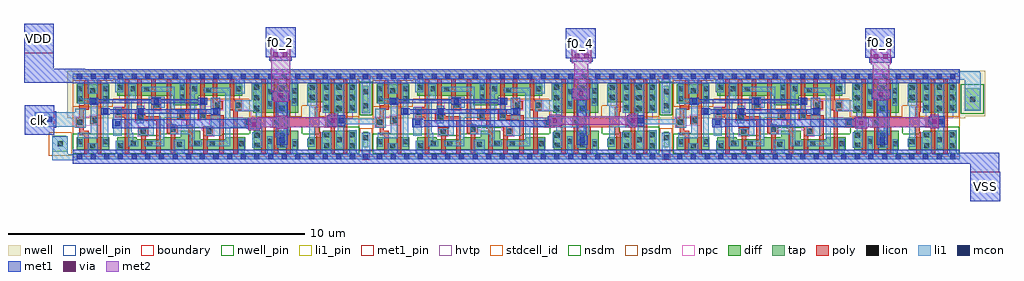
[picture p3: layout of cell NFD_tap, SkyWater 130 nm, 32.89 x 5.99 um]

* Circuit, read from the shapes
.subckt NFD_tap VDD VSS clk f0_2 f0_4 f0_8
XM1 VSS clk n1 VSS sky130_fd_pr__nfet_01v8 w=0.42 l=0.15
XM2 n2 n1 VSS VSS sky130_fd_pr__nfet_01v8 w=0.42 l=0.15
XM3 n3 sky130_fd_sc_hd__dfxbp_2_1/CLK VSS VSS sky130_fd_pr__nfet_01v8 w=0.42 l=0.15
XM4 n4 n1 n3 VSS sky130_fd_pr__nfet_01v8 w=0.36 l=0.15
XM5 n5 n2 n4 VSS sky130_fd_pr__nfet_01v8 w=0.36 l=0.15
XM6 VSS n6 n5 VSS sky130_fd_pr__nfet_01v8 w=0.42 l=0.15
XM7 n6 n4 VSS VSS sky130_fd_pr__nfet_01v8 w=0.64 l=0.15
XM8 n7 n2 n6 VSS sky130_fd_pr__nfet_01v8 w=0.36 l=0.15
XM9 n8 n1 n7 VSS sky130_fd_pr__nfet_01v8 w=0.36 l=0.15
XM10 VSS n9 n8 VSS sky130_fd_pr__nfet_01v8 w=0.42 l=0.15
XM11 VSS n7 n9 VSS sky130_fd_pr__nfet_01v8 w=0.65 l=0.15
XM12 f0_2 n9 VSS VSS sky130_fd_pr__nfet_01v8 w=0.65 l=0.15 m=2
XM13 VSS n9 n10 VSS sky130_fd_pr__nfet_01v8 w=0.42 l=0.15
XM14 sky130_fd_sc_hd__dfxbp_2_1/CLK n10 VSS VSS sky130_fd_pr__nfet_01v8 w=0.65 l=0.15 m=2
XM15 VSS sky130_fd_sc_hd__dfxbp_2_1/CLK n11 VSS sky130_fd_pr__nfet_01v8 w=0.42 l=0.15
XM16 n12 n11 VSS VSS sky130_fd_pr__nfet_01v8 w=0.42 l=0.15
XM17 n13 sky130_fd_sc_hd__dfxbp_2_0/CLK VSS VSS sky130_fd_pr__nfet_01v8 w=0.42 l=0.15
XM18 n14 n11 n13 VSS sky130_fd_pr__nfet_01v8 w=0.36 l=0.15
XM19 n15 n12 n14 VSS sky130_fd_pr__nfet_01v8 w=0.36 l=0.15
XM20 VSS n16 n15 VSS sky130_fd_pr__nfet_01v8 w=0.42 l=0.15
XM21 n16 n14 VSS VSS sky130_fd_pr__nfet_01v8 w=0.64 l=0.15
XM22 n17 n12 n16 VSS sky130_fd_pr__nfet_01v8 w=0.36 l=0.15
XM23 n18 n11 n17 VSS sky130_fd_pr__nfet_01v8 w=0.36 l=0.15
XM24 VSS n19 n18 VSS sky130_fd_pr__nfet_01v8 w=0.42 l=0.15
XM25 VSS n17 n19 VSS sky130_fd_pr__nfet_01v8 w=0.65 l=0.15
XM26 f0_4 n19 VSS VSS sky130_fd_pr__nfet_01v8 w=0.65 l=0.15 m=2
XM27 VSS n19 n20 VSS sky130_fd_pr__nfet_01v8 w=0.42 l=0.15
XM28 sky130_fd_sc_hd__dfxbp_2_0/CLK n20 VSS VSS sky130_fd_pr__nfet_01v8 w=0.65 l=0.15 m=2
XM29 VSS sky130_fd_sc_hd__dfxbp_2_0/CLK n21 VSS sky130_fd_pr__nfet_01v8 w=0.42 l=0.15
XM30 n22 n21 VSS VSS sky130_fd_pr__nfet_01v8 w=0.42 l=0.15
XM31 n23 sky130_fd_sc_hd__dfxbp_2_0/D VSS VSS sky130_fd_pr__nfet_01v8 w=0.42 l=0.15
XM32 n24 n21 n23 VSS sky130_fd_pr__nfet_01v8 w=0.36 l=0.15
XM33 n25 n22 n24 VSS sky130_fd_pr__nfet_01v8 w=0.36 l=0.15
XM34 VSS n26 n25 VSS sky130_fd_pr__nfet_01v8 w=0.42 l=0.15
XM35 n26 n24 VSS VSS sky130_fd_pr__nfet_01v8 w=0.64 l=0.15
XM36 n27 n22 n26 VSS sky130_fd_pr__nfet_01v8 w=0.36 l=0.15
XM37 n28 n21 n27 VSS sky130_fd_pr__nfet_01v8 w=0.36 l=0.15
XM38 VSS n29 n28 VSS sky130_fd_pr__nfet_01v8 w=0.42 l=0.15
XM39 VSS n27 n29 VSS sky130_fd_pr__nfet_01v8 w=0.65 l=0.15
XM40 f0_8 n29 VSS VSS sky130_fd_pr__nfet_01v8 w=0.65 l=0.15 m=2
XM41 VSS n29 n30 VSS sky130_fd_pr__nfet_01v8 w=0.42 l=0.15
XM42 sky130_fd_sc_hd__dfxbp_2_0/D n30 VSS VSS sky130_fd_pr__nfet_01v8 w=0.65 l=0.15 m=2
XM43 VDD clk n1 VDD sky130_fd_pr__pfet_01v8_hvt w=0.64 l=0.15
XM44 n2 n1 VDD VDD sky130_fd_pr__pfet_01v8_hvt w=0.64 l=0.15
XM45 n3 sky130_fd_sc_hd__dfxbp_2_1/CLK VDD VDD sky130_fd_pr__pfet_01v8_hvt w=0.42 l=0.15
XM46 n4 n2 n3 VDD sky130_fd_pr__pfet_01v8_hvt w=0.42 l=0.15
XM47 n31 n1 n4 VDD sky130_fd_pr__pfet_01v8_hvt w=0.42 l=0.15
XM48 VDD n6 n31 VDD sky130_fd_pr__pfet_01v8_hvt w=0.42 l=0.15
XM49 n6 n4 VDD VDD sky130_fd_pr__pfet_01v8_hvt w=0.75 l=0.15
XM50 n7 n1 n6 VDD sky130_fd_pr__pfet_01v8_hvt w=0.42 l=0.15
XM51 n32 n2 n7 VDD sky130_fd_pr__pfet_01v8_hvt w=0.42 l=0.15
XM52 VDD n9 n32 VDD sky130_fd_pr__pfet_01v8_hvt w=0.42 l=0.15
XM53 VDD n7 n9 VDD sky130_fd_pr__pfet_01v8_hvt w=1 l=0.15
XM54 f0_2 n9 VDD VDD sky130_fd_pr__pfet_01v8_hvt w=1 l=0.15 m=2
XM55 VDD n9 n10 VDD sky130_fd_pr__pfet_01v8_hvt w=0.64 l=0.15
XM56 sky130_fd_sc_hd__dfxbp_2_1/CLK n10 VDD VDD sky130_fd_pr__pfet_01v8_hvt w=1 l=0.15 m=2
XM57 VDD sky130_fd_sc_hd__dfxbp_2_1/CLK n11 VDD sky130_fd_pr__pfet_01v8_hvt w=0.64 l=0.15
XM58 n12 n11 VDD VDD sky130_fd_pr__pfet_01v8_hvt w=0.64 l=0.15
XM59 n13 sky130_fd_sc_hd__dfxbp_2_0/CLK VDD VDD sky130_fd_pr__pfet_01v8_hvt w=0.42 l=0.15
XM60 n14 n12 n13 VDD sky130_fd_pr__pfet_01v8_hvt w=0.42 l=0.15
XM61 n33 n11 n14 VDD sky130_fd_pr__pfet_01v8_hvt w=0.42 l=0.15
XM62 VDD n16 n33 VDD sky130_fd_pr__pfet_01v8_hvt w=0.42 l=0.15
XM63 n16 n14 VDD VDD sky130_fd_pr__pfet_01v8_hvt w=0.75 l=0.15
XM64 n17 n11 n16 VDD sky130_fd_pr__pfet_01v8_hvt w=0.42 l=0.15
XM65 n34 n12 n17 VDD sky130_fd_pr__pfet_01v8_hvt w=0.42 l=0.15
XM66 VDD n19 n34 VDD sky130_fd_pr__pfet_01v8_hvt w=0.42 l=0.15
XM67 VDD n17 n19 VDD sky130_fd_pr__pfet_01v8_hvt w=1 l=0.15
XM68 f0_4 n19 VDD VDD sky130_fd_pr__pfet_01v8_hvt w=1 l=0.15 m=2
XM69 VDD n19 n20 VDD sky130_fd_pr__pfet_01v8_hvt w=0.64 l=0.15
XM70 sky130_fd_sc_hd__dfxbp_2_0/CLK n20 VDD VDD sky130_fd_pr__pfet_01v8_hvt w=1 l=0.15 m=2
XM71 VDD sky130_fd_sc_hd__dfxbp_2_0/CLK n21 VDD sky130_fd_pr__pfet_01v8_hvt w=0.64 l=0.15
XM72 n22 n21 VDD VDD sky130_fd_pr__pfet_01v8_hvt w=0.64 l=0.15
XM73 n23 sky130_fd_sc_hd__dfxbp_2_0/D VDD VDD sky130_fd_pr__pfet_01v8_hvt w=0.42 l=0.15
XM74 n24 n22 n23 VDD sky130_fd_pr__pfet_01v8_hvt w=0.42 l=0.15
XM75 n35 n21 n24 VDD sky130_fd_pr__pfet_01v8_hvt w=0.42 l=0.15
XM76 VDD n26 n35 VDD sky130_fd_pr__pfet_01v8_hvt w=0.42 l=0.15
XM77 n26 n24 VDD VDD sky130_fd_pr__pfet_01v8_hvt w=0.75 l=0.15
XM78 n27 n21 n26 VDD sky130_fd_pr__pfet_01v8_hvt w=0.42 l=0.15
XM79 n36 n22 n27 VDD sky130_fd_pr__pfet_01v8_hvt w=0.42 l=0.15
XM80 VDD n29 n36 VDD sky130_fd_pr__pfet_01v8_hvt w=0.42 l=0.15
XM81 VDD n27 n29 VDD sky130_fd_pr__pfet_01v8_hvt w=1 l=0.15
XM82 f0_8 n29 VDD VDD sky130_fd_pr__pfet_01v8_hvt w=1 l=0.15 m=2
XM83 VDD n29 n30 VDD sky130_fd_pr__pfet_01v8_hvt w=0.64 l=0.15
XM84 sky130_fd_sc_hd__dfxbp_2_0/D n30 VDD VDD sky130_fd_pr__pfet_01v8_hvt w=1 l=0.15 m=2
.ends

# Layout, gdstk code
import gdstk
lib = gdstk.Library(unit=1e-6, precision=1e-09)
def R(c, l, rs):  # rectangles x0, y0, x1, y1
    for r in rs: c.add(gdstk.rectangle(r[:2], r[2:], *l))
def A(c, l, x, y, w, h, nx, ny, dx, dy):  # array of equal rectangles
    R(c, l, [(x+i*dx, y+j*dy, x+i*dx+w, y+j*dy+h) for i in range(nx) for j in range(ny)])
nwell_pin = (64, 16)
nwell = (64, 20)
diff = (65, 20)
tap = (65, 44)
poly = (66, 20)
licon = (66, 44)
li1_pin = (67, 16)
li1 = (67, 20)
mcon = (67, 44)
met1_pin = (68, 16)
met1 = (68, 20)
via = (68, 44)
met2 = (69, 20)
hvtp = (78, 44)
stdcell_id = (81, 4)
nsdm = (93, 44)
psdm = (94, 20)
npc = (95, 20)
pwell_pin = (122, 16)
boundary = (235, 4)

sky130_fd_sc_hd__dfxbp_2 = lib.new_cell('sky130_fd_sc_hd__dfxbp_2')
R(sky130_fd_sc_hd__dfxbp_2, nwell_pin, [(0.145,2.635,0.315,2.805)])
R(sky130_fd_sc_hd__dfxbp_2, nwell, [(-0.19,1.305,9.85,2.91)])
R(sky130_fd_sc_hd__dfxbp_2, diff, [(0.135,0.235,1.225,0.655), (1.495,0.235,5.82,0.595), (6.1,0.235,7.61,0.885), (7.945,0.235,9.525,0.655), (1.495,0.595,2.155,0.655), (3.055,0.595,4.3,0.655), (5.16,0.595,5.82,0.655), (3.65,0.655,4.3,0.875), (8.43,0.655,9.525,0.885), (6.08,1.485,7.6,2.485), (8.43,1.485,9.525,1.845), (3.395,1.735,4.23,2.065), (0.135,1.815,1.225,2.455), (7.945,1.845,9.525,2.485), (1.495,2.065,5.71,2.485)])
A(sky130_fd_sc_hd__dfxbp_2, poly, 6.36, 0.105, 0.15, 0.89, 3, 1, 0.42, 0)
A(sky130_fd_sc_hd__dfxbp_2, poly, 6.35, 1.325, 0.15, 1.29, 3, 1, 0.42, 0)
R(sky130_fd_sc_hd__dfxbp_2, poly, [(0.395,0.105,0.545,0.73), (0.815,0.105,0.965,1.1), (1.755,0.105,1.905,1.335), (2.315,0.105,2.465,0.735), (2.81,0.105,2.96,1.215), (3.305,0.105,3.455,0.795), (3.9,0.105,4.05,0.95), (4.405,0.105,4.555,0.705), (4.935,0.105,5.085,1.245), (5.41,0.105,5.56,1.575), (8.205,0.105,8.355,0.73), (8.69,0.105,8.84,0.995), (9.11,0.105,9.26,0.995), (4.405,0.705,4.725,1.035), (0.23,0.73,0.545,0.88), (8.16,0.73,8.355,0.85), (2.215,0.735,2.545,1.005), (3.17,0.795,3.54,1.065), (8.16,0.85,8.31,0.995), (0.23,0.88,0.38,0.995), (3.83,0.95,4.05,1.1), (0.11,0.995,0.38,1.325), (5.8,0.995,6.51,1.325), (6.72,0.995,8.31,1.325), (8.52,0.995,9.26,1.325), (3.17,1.065,3.32,2.615), (0.59,1.1,0.965,1.37), (3.83,1.1,3.98,1.275), (2.115,1.215,2.96,1.365), (4.24,1.245,5.085,1.395), (3.53,1.275,3.98,1.545), (0.23,1.325,0.38,1.59), (8.16,1.325,8.31,1.515), (8.69,1.325,8.84,2.615), (9.11,1.325,9.26,2.615), (1.43,1.335,1.905,1.665), (2.115,1.365,2.445,1.485), (0.815,1.37,0.965,2.585), (4.24,1.395,4.51,1.575), (2.18,1.485,2.33,2.615), (8.16,1.515,8.355,1.665), (3.83,1.545,3.98,2.615), (2.655,1.575,2.96,1.905), (4.305,1.575,4.455,2.615), (5.295,1.575,5.7,1.905), (0.23,1.59,0.545,1.74), (4.72,1.605,5.05,1.875), (1.755,1.665,1.905,2.615), (8.205,1.665,8.355,2.615), (0.395,1.74,0.545,2.585), (4.725,1.875,4.875,2.615), (2.655,1.905,2.805,2.615), (5.295,1.905,5.445,2.615)])
A(sky130_fd_sc_hd__dfxbp_2, licon, 6.12, 1.545, 0.17, 0.17, 1, 3, 0, 0.355)
A(sky130_fd_sc_hd__dfxbp_2, licon, 6.97, 1.545, 0.17, 0.17, 1, 3, 0, 0.34)
A(sky130_fd_sc_hd__dfxbp_2, licon, 8.89, 1.545, 0.17, 0.17, 1, 3, 0, 0.355)
A(sky130_fd_sc_hd__dfxbp_2, licon, 8.47, 1.575, 0.17, 0.17, 1, 3, 0, 0.34)
A(sky130_fd_sc_hd__dfxbp_2, licon, 9.315, 1.575, 0.17, 0.17, 1, 3, 0, 0.34)
R(sky130_fd_sc_hd__dfxbp_2, licon, [(0.595,0.295,0.765,0.465), (1.535,0.295,1.705,0.465), (8.47,0.295,8.64,0.465), (9.315,0.295,9.485,0.465), (6.14,0.3,6.31,0.47), (6.98,0.31,7.15,0.48), (3.51,0.335,3.68,0.505), (7.4,0.35,7.57,0.52), (1.96,0.365,2.13,0.535), (2.515,0.365,2.685,0.535), (4.105,0.365,4.275,0.535), (4.62,0.365,4.79,0.535), (5.61,0.365,5.78,0.535), (0.175,0.425,0.345,0.595), (1.015,0.425,1.185,0.595), (7.985,0.425,8.155,0.595), (6.56,0.445,6.73,0.615), (8.89,0.485,9.06,0.655), (6.14,0.64,6.31,0.81), (6.98,0.65,7.15,0.82), (8.47,0.655,8.64,0.825), (9.315,0.655,9.485,0.825), (2.295,0.785,2.465,0.955), (4.505,0.785,4.675,0.955), (3.29,0.845,3.46,1.015), (0.16,1.075,0.33,1.245), (5.85,1.075,6.02,1.245), (6.77,1.075,6.94,1.245), (8.59,1.075,8.76,1.245), (0.67,1.15,0.84,1.32), (2.195,1.265,2.365,1.435), (3.61,1.325,3.78,1.495), (4.29,1.325,4.46,1.495), (1.48,1.415,1.65,1.585), (2.74,1.655,2.91,1.825), (4.8,1.655,4.97,1.825), (5.48,1.655,5.65,1.825), (6.55,1.705,6.72,1.875), (7.39,1.8,7.56,1.97), (0.175,1.875,0.345,2.045), (1.015,1.875,1.185,2.045), (3.61,1.915,3.78,2.085), (7.985,1.915,8.155,2.085), (6.55,2.105,6.72,2.275), (0.595,2.135,0.765,2.305), (7.39,2.14,7.56,2.31), (4.505,2.165,4.675,2.335), (2.415,2.19,2.585,2.36), (0.175,2.215,0.345,2.385), (1.015,2.215,1.185,2.385), (1.955,2.215,2.125,2.385), (4.03,2.215,4.2,2.385), (5.5,2.215,5.67,2.385), (1.535,2.255,1.705,2.425), (3.61,2.255,3.78,2.425), (7.985,2.255,8.155,2.425)])
R(sky130_fd_sc_hd__dfxbp_2, li1_pin, [(6.95,0.425,7.12,0.595), (0.145,1.105,0.315,1.275), (1.445,1.105,1.615,1.275), (8.845,1.52,9.015,1.69)])
R(sky130_fd_sc_hd__dfxbp_2, li1, [(0,-0.085,9.66,0.085), (0.515,0.085,0.845,0.465), (1.455,0.085,1.705,0.545), (3.4,0.085,3.77,0.585), (5.585,0.085,5.795,0.615), (6.56,0.085,6.73,0.695), (7.4,0.085,7.57,0.6), (8.39,0.085,8.72,0.825), (9.315,0.085,9.565,0.905), (8.89,0.265,9.145,0.885), (6.06,0.3,6.39,0.825), (6.9,0.305,7.23,0.74), (0.175,0.345,0.345,0.635), (1.015,0.345,1.2,2.465), (7.905,0.345,8.165,0.615), (1.875,0.365,2.21,0.535), (2.405,0.365,3.08,0.535), (3.95,0.365,4.355,0.535), (4.525,0.365,5.31,0.535), (1.875,0.535,2.045,0.675), (2.91,0.535,3.08,1.315), (3.95,0.535,4.12,0.765), (5.14,0.535,5.31,0.995), (7.965,0.615,8.165,0.995), (0.175,0.635,0.84,0.805), (1.82,0.675,2.045,0.805), (4.505,0.705,4.97,1.035), (1.37,0.715,1.65,1.665), (2.215,0.735,2.74,0.955), (6.9,0.74,7.3,0.825), (3.29,0.765,4.12,1.065), (0.61,0.805,0.84,1.795), (1.82,0.805,1.99,1.91), (6.19,0.825,6.39,0.995), (7.055,0.825,7.3,0.865), (7.11,0.865,7.3,1.445), (8.93,0.885,9.145,1.495), (2.57,0.955,2.74,1.655), (0.09,0.975,0.44,1.625), (5.14,0.995,6.02,1.325), (6.19,0.995,6.94,1.325), (7.965,0.995,8.76,1.325), (4.65,1.035,4.97,1.995), (3.29,1.065,3.49,1.095), (3.95,1.065,4.12,2.135), (2.16,1.125,2.4,1.72), (3.61,1.245,3.78,1.315), (4.29,1.245,4.48,1.965), (2.91,1.315,3.78,1.485), (5.14,1.325,5.31,2.165), (6.19,1.325,6.38,1.53), (7.965,1.325,8.235,1.715), (7.065,1.445,7.3,1.495), (3.27,1.485,3.78,1.575), (6.89,1.495,7.3,1.575), (8.425,1.495,8.64,2.635), (8.81,1.495,9.145,2.465), (9.315,1.495,9.565,2.635), (5.48,1.53,6.38,1.905), (3.27,1.575,3.44,2.19), (6.89,1.575,7.22,2.42), (6.55,1.625,6.72,2.635), (2.57,1.655,3.1,2.02), (7.905,1.715,8.235,2.445), (7.39,1.72,7.565,2.635), (0.175,1.795,0.84,1.965), (3.61,1.835,3.78,2.635), (6.04,1.905,6.38,2.465), (1.82,1.91,2.125,2.04), (0.175,1.965,0.345,2.465), (1.875,2.04,2.125,2.465), (0.515,2.135,0.845,2.635), (3.95,2.135,4.2,2.465), (5.49,2.135,5.805,2.635), (4.425,2.165,5.31,2.335), (1.44,2.175,1.705,2.635), (2.335,2.19,3.44,2.36), (0,2.635,9.66,2.805)])
A(sky130_fd_sc_hd__dfxbp_2, mcon, 0.145, -0.085, 0.17, 0.17, 21, 2, 0.46, 2.72)
R(sky130_fd_sc_hd__dfxbp_2, mcon, [(1.025,1.445,1.195,1.615), (2.215,1.445,2.385,1.615), (4.735,1.445,4.905,1.615), (0.63,1.785,0.8,1.955), (2.73,1.785,2.9,1.955), (4.3,1.785,4.47,1.955)])
R(sky130_fd_sc_hd__dfxbp_2, met1_pin, [(0.145,-0.085,0.315,0.085), (0.145,2.635,0.315,2.805)])
R(sky130_fd_sc_hd__dfxbp_2, met1, [(0,-0.24,9.66,0.24), (0.965,1.415,1.255,1.46), (2.155,1.415,2.445,1.46), (4.675,1.415,4.965,1.46), (0.965,1.46,4.965,1.6), (0.965,1.6,1.255,1.645), (2.155,1.6,2.445,1.645), (4.675,1.6,4.965,1.645), (0.57,1.755,0.86,1.8), (2.67,1.755,2.96,1.8), (4.24,1.755,4.53,1.8), (0.57,1.8,4.53,1.94), (0.57,1.94,0.86,1.985), (2.67,1.94,2.96,1.985), (4.24,1.94,4.53,1.985), (0,2.48,9.66,2.96)])
R(sky130_fd_sc_hd__dfxbp_2, hvtp, [(6.17,1.305,7.52,2.665), (8.51,1.305,9.44,1.665), (3.65,1.555,4.16,1.885), (0.215,1.635,1.145,2.635), (8.025,1.665,9.44,2.665), (1.575,1.885,5.625,2.665)])
R(sky130_fd_sc_hd__dfxbp_2, stdcell_id, [(0,0,9.66,2.72)])
R(sky130_fd_sc_hd__dfxbp_2, nsdm, [(0.01,0.11,9.65,0.72), (0.01,0.72,2.28,0.78), (2.93,0.72,4.425,0.78), (5.035,0.72,9.65,0.78), (3.525,0.78,4.425,1), (5.975,0.78,7.735,1.01), (8.305,0.78,9.65,1.01)])
R(sky130_fd_sc_hd__dfxbp_2, psdm, [(5.955,1.36,7.725,1.72), (8.305,1.36,9.65,1.72), (3.27,1.61,4.355,1.94), (0.01,1.69,1.35,1.94), (5.955,1.72,9.65,1.94), (0.01,1.94,9.65,2.58), (1.37,2.58,9.65,2.61)])
R(sky130_fd_sc_hd__dfxbp_2, npc, [(2.195,0.685,2.565,1.165), (4.405,0.685,4.775,0.885), (3.19,0.745,3.56,0.895), (4.345,0.885,4.775,1.055), (3.19,0.895,3.67,1.115), (0.06,0.975,0.43,1.05), (5.75,0.975,6.12,1.315), (6.67,0.975,7.04,1.345), (8.49,0.975,8.86,1.345), (0.06,1.05,0.94,1.345), (4.345,1.055,4.62,1.225), (3.4,1.115,3.67,1.225), (2.095,1.165,2.565,1.265), (3.4,1.225,3.88,1.445), (4.19,1.225,4.62,1.44), (2.095,1.265,2.69,1.535), (1.38,1.315,1.75,1.685), (5.48,1.315,6.12,1.345), (0.57,1.345,0.94,1.42), (5.48,1.345,6.02,1.555), (4.19,1.44,4.925,1.555), (3.51,1.445,3.88,1.595), (2.415,1.535,2.69,1.555), (2.415,1.555,3.01,1.825), (4.19,1.555,5.07,1.595), (5.38,1.555,6.02,1.585), (5.38,1.585,5.75,1.925), (4.335,1.595,5.07,1.71), (4.7,1.71,5.07,1.925), (2.64,1.825,3.01,1.925)])
R(sky130_fd_sc_hd__dfxbp_2, pwell_pin, [(0.145,-0.085,0.315,0.085)])
R(sky130_fd_sc_hd__dfxbp_2, boundary, [(0,0,9.66,2.72)])
sky130_fd_sc_hd__dfxbp_2.add(gdstk.Label('VNB', (0.23,0), layer=64, texttype=59))
sky130_fd_sc_hd__dfxbp_2.add(gdstk.Label('VPB', (0.23,2.72), layer=64, texttype=5))
sky130_fd_sc_hd__dfxbp_2.add(gdstk.Label('VGND', (0.23,0), layer=68, texttype=5))
sky130_fd_sc_hd__dfxbp_2.add(gdstk.Label('VPWR', (0.23,2.72), layer=68, texttype=5))
sky130_fd_sc_hd__dfxbp_2.add(gdstk.Label('VNB', (0.23,0), layer=64, texttype=59))
sky130_fd_sc_hd__dfxbp_2.add(gdstk.Label('VPB', (0.23,2.72), layer=64, texttype=5))
sky130_fd_sc_hd__dfxbp_2.add(gdstk.Label('Q_N', (8.93,1.605), layer=67, texttype=5))
sky130_fd_sc_hd__dfxbp_2.add(gdstk.Label('Q', (7.035,0.51), layer=67, texttype=5))
sky130_fd_sc_hd__dfxbp_2.add(gdstk.Label('D', (1.53,1.19), layer=67, texttype=5))
sky130_fd_sc_hd__dfxbp_2.add(gdstk.Label('CLK', (0.23,1.19), layer=67, texttype=5))

sky130_fd_sc_hd__tapvpwr = lib.new_cell('sky130_fd_sc_hd__tapvpwrvgnd_1')
R(sky130_fd_sc_hd__tapvpwr, nwell, [(-0.19,1.305,0.65,2.91)])
R(sky130_fd_sc_hd__tapvpwr, tap, [(0.145,0.32,0.315,0.845), (0.145,1.525,0.315,2.4)])
R(sky130_fd_sc_hd__tapvpwr, licon, [(0.145,0.555,0.315,0.725), (0.145,1.645,0.315,1.815), (0.145,2.11,0.315,2.28)])
R(sky130_fd_sc_hd__tapvpwr, li1, [(0,-0.085,0.46,0.085), (0.085,0.085,0.375,0.81), (0.085,1.47,0.375,2.635), (0,2.635,0.46,2.805)])
R(sky130_fd_sc_hd__tapvpwr, mcon, [(0.145,-0.085,0.315,0.085), (0.145,2.635,0.315,2.805)])
R(sky130_fd_sc_hd__tapvpwr, met1_pin, [(0.105,-0.09,0.36,0.1), (0.11,2.62,0.375,2.765)])
R(sky130_fd_sc_hd__tapvpwr, met1, [(0,-0.24,0.46,0.24), (0,2.48,0.46,2.96)])
R(sky130_fd_sc_hd__tapvpwr, nsdm, [(0.02,1.4,0.44,2.525)])
R(sky130_fd_sc_hd__tapvpwr, psdm, [(0.02,0.195,0.44,0.97)])
R(sky130_fd_sc_hd__tapvpwr, boundary, [(0,0,0.46,2.72)])
sky130_fd_sc_hd__tapvpwr.add(gdstk.Label('VGND', (0.232,0.005), layer=68, texttype=5))
sky130_fd_sc_hd__tapvpwr.add(gdstk.Label('VPWR', (0.242,2.692), layer=68, texttype=5))

nfd_tap = lib.new_cell('NFD_tap')
R(nfd_tap, nwell, [(38.37,-8.8,39.05,-7.26)])
R(nfd_tap, tap, [(7.61,-10,8.13,-9.47), (7.61,-9.47,8.08,-9.46), (38.35,-8.59,38.87,-7.85)])
R(nfd_tap, licon, [(7.785,-9.815,7.955,-9.645), (38.54,-8.315,38.71,-8.145)])
R(nfd_tap, li1, [(7.6,-10.28,8.43,-10.09), (7.6,-10.09,8.12,-9.47), (15.22,-9.74,15.47,-9.49), (25.33,-9.74,25.58,-9.49), (35.45,-9.74,35.7,-9.49), (9.68,-9.17,9.93,-8.94), (7.01,-9.16,8.65,-8.66), (19.79,-9.14,20.04,-8.91), (29.91,-9.14,30.16,-8.91), (37.45,-9.11,37.64,-8.86), (17.25,-9.07,18.71,-8.89), (27.33,-9.07,28.8,-8.9), (27.33,-8.9,27.52,-8.82), (17.25,-8.89,17.44,-8.82), (38.36,-8.62,38.89,-7.57), (38.03,-7.57,38.89,-7.36), (38.13,-7.36,38.89,-7.33), (38.13,-7.33,38.86,-7.29)])
R(nfd_tap, mcon, [(15.26,-9.7,15.43,-9.53), (25.37,-9.7,25.54,-9.53), (35.49,-9.7,35.66,-9.53), (9.72,-9.14,9.89,-8.97), (19.83,-9.11,20,-8.94), (29.95,-9.11,30.12,-8.94), (37.46,-9.07,37.63,-8.9), (17.26,-9.03,17.43,-8.86), (27.34,-9.03,27.51,-8.86), (7.075,-8.995,7.245,-8.825), (7.435,-8.995,7.605,-8.825)])
R(nfd_tap, met1_pin, [(38.54,-11.67,39.54,-10.67), (6.67,-9.43,7.67,-8.43), (24.91,-6.84,25.91,-5.84), (35,-6.83,36,-5.83), (14.8,-6.81,15.8,-5.81), (6.65,-6.68,7.65,-5.68)])
R(nfd_tap, met1, [(38.54,-11.67,39.54,-10.67), (38.54,-10.67,39.52,-10.4), (37.75,-10.4,39.52,-10.03), (37.75,-10.03,38.18,-9.99), (15.16,-9.77,15.53,-9.51), (25.27,-9.77,25.64,-9.46), (35.39,-9.77,35.76,-9.53), (35.38,-9.53,35.76,-8.22), (15.13,-9.51,15.53,-8.26), (25.27,-9.46,25.6,-8.19), (6.67,-9.43,7.67,-9.19), (14.15,-9.22,14.64,-9.21), (9.87,-9.21,14.64,-9.2), (9.62,-9.2,14.64,-8.91), (6.67,-9.19,7.73,-8.63), (34.62,-9.18,35.11,-9.16), (19.73,-9.17,20.1,-9.16), (29.85,-9.17,30.22,-9.16), (37.42,-9.17,37.67,-9.16), (19.73,-9.16,24.38,-9.12), (29.85,-9.16,35.11,-8.91), (37.14,-9.16,37.67,-8.8), (16.87,-9.13,17.47,-8.77), (27.3,-9.13,27.55,-9.12), (19.73,-9.12,24.79,-8.93), (26.98,-9.12,27.55,-8.76), (19.73,-8.93,20.1,-8.88), (24.3,-8.93,24.79,-8.8), (9.87,-8.91,14.64,-8.9), (29.85,-8.91,30.22,-8.88), (34.62,-8.91,35.11,-8.86), (17.22,-8.77,17.47,-8.76), (6.67,-8.63,7.67,-8.43), (15,-8.26,15.63,-7.95), (35.22,-8.22,35.85,-7.91), (25.11,-8.19,25.74,-7.88), (6.65,-7.67,8.7,-7.2), (6.65,-7.2,7.65,-5.68), (35.14,-7,35.9,-6.83), (25.06,-6.97,25.82,-6.84), (14.91,-6.93,15.67,-6.81), (24.91,-6.84,25.91,-5.84), (35,-6.83,36,-5.83), (14.8,-6.81,15.8,-5.81)])
R(nfd_tap, via, [(14.32,-9.135,14.47,-8.985), (34.79,-9.095,34.94,-8.945), (37.255,-9.055,37.405,-8.905), (24.47,-9.035,24.62,-8.885), (16.985,-9.025,17.135,-8.875), (27.095,-9.015,27.245,-8.865), (15.24,-8.18,15.39,-8.03), (35.46,-8.14,35.61,-7.99), (25.35,-8.11,25.5,-7.96), (35.285,-6.87,35.435,-6.72), (35.605,-6.87,35.755,-6.72), (25.205,-6.84,25.355,-6.69), (25.525,-6.84,25.675,-6.69), (15.055,-6.8,15.205,-6.65), (15.375,-6.8,15.525,-6.65)])
R(nfd_tap, met2, [(14.2,-9.27,14.59,-9.22), (34.67,-9.23,35.06,-9.17), (14.2,-9.22,14.64,-9.17), (15.13,-9.22,15.53,-9.18), (37.19,-9.21,37.47,-9.16), (15.13,-9.18,17.2,-9.17), (14.2,-9.17,17.2,-8.85), (24.35,-9.17,24.74,-9.09), (27.03,-9.17,27.31,-9.09), (34.67,-9.17,36.78,-9.16), (34.67,-9.16,37.47,-8.85), (24.35,-9.09,27.31,-8.8), (14.55,-8.85,17.2,-8.84), (34.67,-8.85,36.78,-8.84), (37.19,-8.85,37.47,-8.75), (15.12,-8.84,15.53,-8.78), (16.86,-8.84,17.2,-8.78), (34.67,-8.84,35.06,-8.81), (24.35,-8.8,24.74,-8.75), (27.03,-8.8,27.31,-8.71), (16.92,-8.78,17.2,-8.72), (15.05,-8.31,15.58,-7.97), (35.27,-8.27,35.8,-7.92), (25.16,-8.24,25.69,-7.83), (14.98,-7.97,15.63,-6.98), (35.25,-7.92,35.81,-7.05), (25.19,-7.83,25.66,-7.02), (35.19,-7.05,35.85,-6.54), (25.11,-7.02,25.77,-6.51), (14.96,-6.98,15.63,-6.89), (14.96,-6.89,15.62,-6.47)])
R(nfd_tap, nsdm, [(38.225,-8.715,38.995,-7.725)])
R(nfd_tap, psdm, [(7.485,-10.125,8.255,-9.345), (7.485,-9.345,8.205,-9.335)])
nfd_tap.add(gdstk.Reference(sky130_fd_sc_hd__dfxbp_2, (28.52,-10.17)))
nfd_tap.add(gdstk.Reference(sky130_fd_sc_hd__dfxbp_2, (18.4,-10.17)))
nfd_tap.add(gdstk.Reference(sky130_fd_sc_hd__dfxbp_2, (8.29,-10.17)))
nfd_tap.add(gdstk.Reference(sky130_fd_sc_hd__tapvpwr, (28.06,-10.17)))
nfd_tap.add(gdstk.Reference(sky130_fd_sc_hd__tapvpwr, (17.94,-10.17)))
nfd_tap.add(gdstk.Label('VSS', (39.04,-11.17), layer=68, texttype=5))
nfd_tap.add(gdstk.Label('f0_8', (35.5,-6.33), layer=68, texttype=5))
nfd_tap.add(gdstk.Label('f0_4', (25.41,-6.34), layer=68, texttype=5))
nfd_tap.add(gdstk.Label('f0_2', (15.3,-6.31), layer=68, texttype=5))
nfd_tap.add(gdstk.Label('VDD', (7.15,-6.18), layer=68, texttype=5))
nfd_tap.add(gdstk.Label('clk', (7.17,-8.93), layer=68, texttype=5))

lib.write_gds('NFD_tap.gds')
